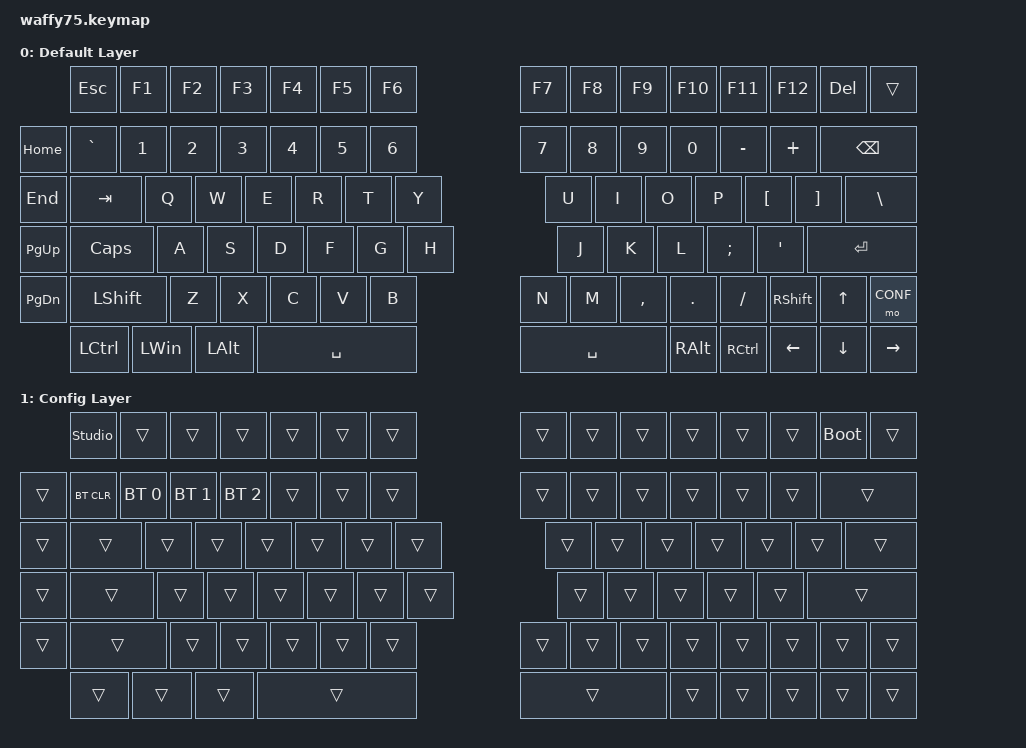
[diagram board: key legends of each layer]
#include <behaviors.dtsi>
#include <dt-bindings/zmk/keys.h>
#include <dt-bindings/zmk/bt.h>

#define CONF 1

/ {
    keymap {
        compatible = "zmk,keymap";

        default_layer { // Layer 0
        //          ESC	F1	F2	F3	F4	F5	F6		F7	F8	F9	F10	F11	F12	DEL	ENCODER
        // HOME	    `	1	2	3	4	5	6		7	8	9	0	-	=	BK SPC	
        // END	    TAB		Q	W	E	R	T		Y	U	I	O	P	[	]	\
        // PG UP	CAPS	A	S	D	F	G		H	J	K	L	;	'	Enter	
        // PG DN	LSHIFT	Z	X	C	V	B		N	M	,	.	/	RSHIFT	UP	FN
        // 	LCTRL	WIN	LALT		   SPC			 SPC		RALT	RCTRL	LEFT	DOWN	RIGHT
        //         RC(0,1) RC(0,2) RC(0,3) RC(0,4) RC(0,5) RC(0,6) RC(0,7)     RC(0,8) RC(0,9) RC(0,10) RC(0,11) RC(0,12) RC(0,13) RC(0,14) RC(0,15)
        // RC(1,0) RC(1,1) RC(1,2) RC(1,3) RC(1,4) RC(1,5) RC(1,6) RC(1,7)     RC(1,8) RC(1,9) RC(1,10) RC(1,11) RC(1,12) RC(1,13) RC(1,14) 
        // RC(2,0) RC(2,1)         RC(2,3) RC(2,4) RC(2,5) RC(2,6) RC(2,7)     RC(2,8) RC(2,9) RC(2,10) RC(2,11) RC(2,12) RC(2,13) RC(2,14) RC(2,15)
        // RC(3,0) RC(3,1)         RC(3,3) RC(3,4) RC(3,5) RC(3,6) RC(3,7)     RC(3,8) RC(3,9) RC(3,10) RC(3,11) RC(3,12) RC(3,13) RC(3,14) 
        // RC(4,0) RC(4,1)         RC(4,3) RC(4,4) RC(4,5) RC(4,6) RC(4,7)     RC(4,8) RC(4,9) RC(4,10) RC(4,11) RC(4,12) RC(4,13) RC(4,14) RC(4,15)
        //         RC(5,1) RC(5,2) RC(5,3)                 RC(5,6)                     RC(5,9)          RC(5,11) RC(5,12) RC(5,13) RC(5,14) RC(5,15)
            display-name = "Default Layer";
            bindings = <
                          &kp ESC   &kp F1    &kp F2    &kp F3    &kp F4    &kp F5    &kp F6         &kp F7    &kp F8    &kp F9    &kp F10   &kp F11   &kp F12   &kp DEL   &trans
                &kp HOME  &kp GRAVE &kp N1    &kp N2    &kp N3    &kp N4    &kp N5    &kp N6         &kp N7    &kp N8    &kp N9    &kp N0    &kp MINUS &kp PLUS  &kp BSPC   
                &kp END   &kp TAB             &kp Q     &kp W     &kp E     &kp R     &kp T          &kp Y     &kp U     &kp I     &kp O     &kp P     &kp LBKT  &kp RBKT  &kp BSLH
                &kp PG_UP &kp CAPS            &kp A     &kp S     &kp D     &kp F     &kp G          &kp H     &kp J     &kp K     &kp L     &kp SEMI  &kp SQT   &kp ENTER  
                &kp PG_DN &kp LSHFT           &kp Z     &kp X     &kp C     &kp V     &kp B          &kp N     &kp M     &kp COMMA &kp DOT   &kp SLASH &kp RSHFT &kp UP    &mo CONF
                          &kp LCTRL &kp LWIN  &kp LALT                      &kp SPACE                          &kp SPACE           &kp RALT  &kp RCTRL &kp LEFT  &kp DOWN  &kp RIGHT
            >;
        };

        config_layer { // Layer 1
            display-name = "Config Layer";
            bindings = <
                       &studio_unlock &trans       &trans       &trans       &trans &trans &trans         &trans &trans &trans &trans &trans &trans &bootloader &trans
                &trans &bt BT_CLR     &bt BT_SEL 0 &bt BT_SEL 1 &bt BT_SEL 2 &trans &trans &trans         &trans &trans &trans &trans &trans &trans &trans  
                &trans &trans                      &trans       &trans       &trans &trans &trans         &trans &trans &trans &trans &trans &trans &trans &trans
                &trans &trans                      &trans       &trans       &trans &trans &trans         &trans &trans &trans &trans &trans &trans &trans 
                &trans &trans                      &trans       &trans       &trans &trans &trans         &trans &trans &trans &trans &trans &trans &trans &trans
                       &trans         &trans       &trans                           &trans                       &trans        &trans &trans &trans &trans &trans
            >;
        };
    };
 };
 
